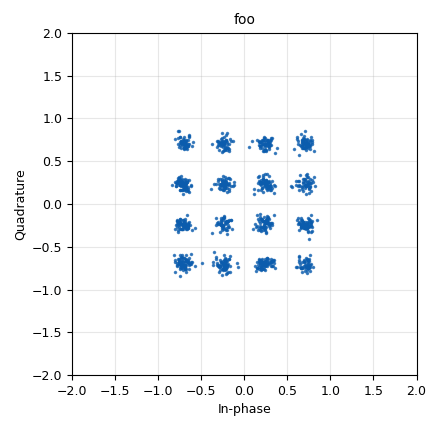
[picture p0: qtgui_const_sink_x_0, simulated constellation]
<?xml version='1.0' encoding='utf-8'?>
<?grc format='1' created='3.7.9'?>
<flow_graph>
<block>
<key>options</key>
<param><key>id</key><value>ber_simulation</value></param>
<param><key>author</key><value>Example</value></param>
<param><key>category</key><value>Custom</value></param>
<param><key>description</key><value>Adjust the noise and constellation... see what happens!</value></param>
<param><key>generate_options</key><value>qt_gui</value></param>
<param><key>title</key><value>BER Simulation</value></param>
</block>
<block>
<key>variable</key>
<param><key>id</key><value>Bps</value></param>
<param><key>value</key><value>int(math.log(M,2))</value></param>
</block>
<block>
<key>variable_qtgui_range</key>
<param><key>id</key><value>EbN0</value></param>
<param><key>value</key><value>14.</value></param>
<param><key>label</key><value>Eb / N0 (dB)</value></param>
<param><key>orient</key><value>Qt.Horizontal</value></param>
<param><key>start</key><value>-10</value></param>
<param><key>step</key><value>1</value></param>
<param><key>stop</key><value>200</value></param>
</block>
<block>
<key>variable</key>
<param><key>id</key><value>M</value></param>
<param><key>value</key><value>len(const)</value></param>
</block>
<block>
<key>variable_constellation</key>
<param><key>id</key><value>MiconstellationObject</value></param>
<param><key>const_points</key><value>const</value></param>
<param><key>dims</key><value>1</value></param>
<param><key>rot_sym</key><value>4</value></param>
<param><key>precision</key><value>8</value></param>
<param><key>sym_map</key><value></value></param>
</block>
<block>
<key>variable</key>
<param><key>id</key><value>Rb</value></param>
<param><key>value</key><value>Rs*Bps</value></param>
</block>
<block>
<key>variable</key>
<param><key>id</key><value>Rs</value></param>
<param><key>value</key><value>samp_rate/Sps</value></param>
</block>
<block>
<key>variable</key>
<param><key>id</key><value>Sps</value></param>
<param><key>value</key><value>16</value></param>
</block>
<block>
<key>variable</key>
<param><key>id</key><value>const</value></param>
<param><key>_enabled</key><value>0</value></param>
<param><key>value</key><value>(digital.constellation_bpsk(), digital.constellation_qpsk(), digital.constellation_8psk(), digital.qam.qam_constellation(16))</value></param>
</block>
<block>
<key>variable</key>
<param><key>id</key><value>const</value></param>
<param><key>value</key><value>[(1+1.j)/4.24,(3+1.j)/4.24,(3+3.j)/4.24,(1+3.j)/4.24,(-1+1.j)/4.24,(-3+1.j)/4.24,(-3+3.j)/4.24,(-1+3.j)/4.24,(-1-1.j)/4.24,(-3-1.j)/4.24,(-3-3.j)/4.24,(-1-3.j)/4.24,(1-1.j)/4.24,(3-1.j)/4.24,(3-3.j)/4.24,(1-3.j)/4.24]</value></param>
</block>
<block>
<key>variable</key>
<param><key>id</key><value>const_type</value></param>
<param><key>_enabled</key><value>0</value></param>
<param><key>value</key><value>2</value></param>
</block>
<block>
<key>variable</key>
<param><key>id</key><value>hn</value></param>
<param><key>value</key><value>wform.nyq(Sps,ntaps)</value></param>
</block>
<block>
<key>variable</key>
<param><key>id</key><value>hr</value></param>
<param><key>value</key><value>wform.rect(Sps,ntaps)</value></param>
</block>
<block>
<key>variable</key>
<param><key>id</key><value>hrc</value></param>
<param><key>value</key><value>wform.rcos(Sps,ntaps,rolloff)</value></param>
</block>
<block>
<key>variable</key>
<param><key>id</key><value>ntaps</value></param>
<param><key>value</key><value>128</value></param>
</block>
<block>
<key>variable</key>
<param><key>id</key><value>rolloff</value></param>
<param><key>value</key><value>0.35</value></param>
</block>
<block>
<key>variable</key>
<param><key>id</key><value>samp_rate</value></param>
<param><key>value</key><value>100e3</value></param>
</block>
<block>
<key>variable_qtgui_label</key>
<param><key>id</key><value>variable_qtgui_label_0</value></param>
<param><key>value</key><value>{0: 'BPSK', 1: 'QPSK', 2: '8-PSK', 3: '16-QAM'}[const_type] + " Cambie la constante "const_type" para elegir diferentes tipos de constelacion"</value></param>
<param><key>_enabled</key><value>0</value></param>
<param><key>label</key><value>Constellation Type</value></param>
<param><key>type</key><value>string</value></param>
</block>
<block>
<key>analog_noise_source_x</key>
<param><key>id</key><value>analog_noise_source_x</value></param>
<param><key>amp</key><value>1.0 / math.sqrt(2.0 * Bps * 10**(EbN0/10))</value></param>
<param><key>noise_type</key><value>analog.GR_GAUSSIAN</value></param>
<param><key>type</key><value>complex</value></param>
<param><key>seed</key><value>42</value></param>
</block>
<block>
<key>analog_random_source_x</key>
<param><key>id</key><value>analog_random_source_x</value></param>
<param><key>max</key><value>M</value></param>
<param><key>min</key><value>0</value></param>
<param><key>num_samps</key><value>10000000</value></param>
<param><key>type</key><value>byte</value></param>
<param><key>repeat</key><value>True</value></param>
</block>
<block>
<key>blks2_error_rate</key>
<param><key>id</key><value>blks2_error_rate</value></param>
<param><key>bits_per_symbol</key><value>Bps</value></param>
<param><key>type</key><value>'BER'</value></param>
<param><key>win_size</key><value>int(1e7)</value></param>
</block>
<block>
<key>blocks_add_xx</key>
<param><key>id</key><value>blocks_add_xx</value></param>
<param><key>type</key><value>complex</value></param>
</block>
<block>
<key>blocks_null_sink</key>
<param><key>id</key><value>blocks_null_sink_0</value></param>
<param><key>bus_conns</key><value>[[0,],]</value></param>
<param><key>type</key><value>complex</value></param>
</block>
<block>
<key>blocks_throttle</key>
<param><key>id</key><value>blocks_throttle</value></param>
<param><key>samples_per_second</key><value>samp_rate</value></param>
<param><key>type</key><value>byte</value></param>
</block>
<block>
<key>digital_chunks_to_symbols_xx</key>
<param><key>id</key><value>digital_chunks_to_symbols_xx</value></param>
<param><key>dimension</key><value>1</value></param>
<param><key>in_type</key><value>byte</value></param>
<param><key>out_type</key><value>complex</value></param>
<param><key>symbol_table</key><value>const</value></param>
</block>
<block>
<key>digital_constellation_decoder_cb</key>
<param><key>id</key><value>digital_constellation_decoder_cb_0</value></param>
<param><key>constellation</key><value>MiconstellationObject</value></param>
</block>
<block>
<key>import</key>
<param><key>id</key><value>import</value></param>
<param><key>import</key><value>import math</value></param>
</block>
<block>
<key>interp_fir_filter_xxx</key>
<param><key>id</key><value>interp_fir_filter_xxx_0_0_0</value></param>
<param><key>interp</key><value>Sps</value></param>
<param><key>taps</key><value>hr</value></param>
<param><key>type</key><value>ccc</value></param>
</block>
<block>
<key>qtgui_const_sink_x</key>
<param><key>id</key><value>qtgui_const_sink_x_0</value></param>
<param><key>gui_hint</key><value>2,0,1,1</value></param>
<param><key>alpha1</key><value>0.6</value></param>
<param><key>name</key><value>"foo"</value></param>
<param><key>size</key><value>1024</value></param>
<param><key>type</key><value>complex</value></param>
</block>
<block>
<key>qtgui_number_sink</key>
<param><key>id</key><value>qtgui_number_sink_0</value></param>
<param><key>autoscale</key><value>True</value></param>
<param><key>gui_hint</key><value>1,0,1,1</value></param>
<param><key>graph_type</key><value>qtgui.NUM_GRAPH_HORIZ</value></param>
<param><key>type</key><value>float</value></param>
<param><key>factor1</key><value>1e6</value></param>
<param><key>label1</key><value>BER</value></param>
<param><key>unit1</key><value>x10^-6</value></param>
<param><key>min</key><value>0</value></param>
</block>
<block>
<key>virtual_sink</key>
<param><key>id</key><value>vs0</value></param>
<param><key>stream_id</key><value>TX1</value></param>
</block>
<block>
<key>virtual_sink</key>
<param><key>id</key><value>vs1</value></param>
<param><key>stream_id</key><value>RX1</value></param>
</block>
<block>
<key>virtual_source</key>
<param><key>id</key><value>vs2</value></param>
<param><key>stream_id</key><value>TX1</value></param>
</block>
<block>
<key>virtual_source</key>
<param><key>id</key><value>vs3</value></param>
<param><key>stream_id</key><value>RX1</value></param>
</block>
<block>
<key>virtual_sink</key>
<param><key>id</key><value>vs4</value></param>
<param><key>stream_id</key><value>TX2</value></param>
</block>
<block>
<key>virtual_sink</key>
<param><key>id</key><value>vs5</value></param>
<param><key>stream_id</key><value>RX2</value></param>
</block>
<block>
<key>virtual_source</key>
<param><key>id</key><value>vs6</value></param>
<param><key>stream_id</key><value>RX2</value></param>
</block>
<block>
<key>epy_module</key>
<param><key>id</key><value>wform</value></param>
<param><key>source_code</key><value>import math
import numpy
#######################################################
##        Hecho por Homero Ortega Boada              ##
##        comdiguis@saber.uis.edu.co                 ##
##     Universidad Industrial de Santander           ##
#######################################################

#######################################################
##               Forma rectangular                   ##
#######################################################                       
def rect(Sps,ntaps):
    h=ntaps*[0,]
    for n in range(Sps):
        k=int(ntaps/2) # esto es para que h[n] quede centrada en la mitad del vector
        h[k-n]=1.
    return h

#######################################################
##               Forma de Nyquist                    ##
#######################################################                       
def nyq(Sps,ntaps):
    ntaps_min=-int(ntaps/2)
    ntaps_max=abs(ntaps_min)-1+int(math.ceil(ntaps/2.-abs(ntaps_min)))
    h=ntaps*[0,]
    for n in range(ntaps):
        k=n-ntaps/2. # esto es para que h[n] quede centrada en la mitad del vector
        h[n]=numpy.sinc(k/Sps)
    Amp=numpy.amax(h)
    return h/Amp

#######################################################
##               Forma Coseno Alzado                 ##
#######################################################                       
def rcos(Sps,ntaps,beta):
    if beta==0:
        h=nyq(Sps,ntaps)
    else:
        h=ntaps*[0,]
        for n in range(ntaps):
            k=n-ntaps/2. # esto es para que h[n] quede centrada en la mitad del vector
            if abs(k)==Sps/(2.*beta):
                h[n]=numpy.sinc(1./(2.*beta))*math.pi/4.
            else:
                h[n]=numpy.sinc(k/Sps)*math.cos(beta*k*math.pi/Sps)/(1.-(2.*beta*k/Sps)**2)                
    Amp=numpy.amax(h)
    return h/Amp

#######################################################
##            Forma Raiz de Coseno Alzado            ##
#######################################################                       

def rrcos(Sps,ntaps,beta):
    if beta==0:
        h=nyq(Sps,ntaps)
    else:
        h=ntaps*[0,]
        beta4=4.*beta
        for n in range(ntaps):
            k=n-ntaps/2. # esto es para que h[n] quede centrada en la mitad del vector
            if k==0:
                h[n]=1+beta*(4./math.pi-1.)
            elif abs(k)==Sps/beta4:
                ha=(1.+2./math.pi)*math.sin(math.pi/beta4)
                hb=(1.-2./math.pi)*math.cos(math.pi/beta4)
                h[n]=(ha+hb)*beta/math.sqrt(2.)
            else:
                ks=k/Sps
                kspi=math.pi*ks
                Num=math.sin(kspi*(1-beta))+beta4*ks*math.cos(kspi*(1+beta))
                Den=kspi*(1.-(beta4*ks)**2)
                h[n]=Num/Den                
    Amp=numpy.amax(h)
    return h/Amp
</value></param>
</block>
<connection><source_block_id>analog_noise_source_x</source_block_id><sink_block_id>blocks_add_xx</sink_block_id><source_key>0</source_key><sink_key>1</sink_key></connection>
<connection><source_block_id>analog_random_source_x</source_block_id><sink_block_id>blocks_throttle</sink_block_id><source_key>0</source_key><sink_key>0</sink_key></connection>
<connection><source_block_id>blks2_error_rate</source_block_id><sink_block_id>qtgui_number_sink_0</sink_block_id><source_key>0</source_key><sink_key>0</sink_key></connection>
<connection><source_block_id>blocks_add_xx</source_block_id><sink_block_id>digital_constellation_decoder_cb_0</sink_block_id><source_key>0</source_key><sink_key>0</sink_key></connection>
<connection><source_block_id>blocks_add_xx</source_block_id><sink_block_id>vs5</sink_block_id><source_key>0</source_key><sink_key>0</sink_key></connection>
<connection><source_block_id>blocks_throttle</source_block_id><sink_block_id>digital_chunks_to_symbols_xx</sink_block_id><source_key>0</source_key><sink_key>0</sink_key></connection>
<connection><source_block_id>blocks_throttle</source_block_id><sink_block_id>vs0</sink_block_id><source_key>0</source_key><sink_key>0</sink_key></connection>
<connection><source_block_id>digital_chunks_to_symbols_xx</source_block_id><sink_block_id>blocks_add_xx</sink_block_id><source_key>0</source_key><sink_key>0</sink_key></connection>
<connection><source_block_id>digital_chunks_to_symbols_xx</source_block_id><sink_block_id>interp_fir_filter_xxx_0_0_0</sink_block_id><source_key>0</source_key><sink_key>0</sink_key></connection>
<connection><source_block_id>digital_chunks_to_symbols_xx</source_block_id><sink_block_id>vs4</sink_block_id><source_key>0</source_key><sink_key>0</sink_key></connection>
<connection><source_block_id>digital_constellation_decoder_cb_0</source_block_id><sink_block_id>vs1</sink_block_id><source_key>0</source_key><sink_key>0</sink_key></connection>
<connection><source_block_id>interp_fir_filter_xxx_0_0_0</source_block_id><sink_block_id>blocks_null_sink_0</sink_block_id><source_key>0</source_key><sink_key>0</sink_key></connection>
<connection><source_block_id>vs2</source_block_id><sink_block_id>blks2_error_rate</sink_block_id><source_key>0</source_key><sink_key>0</sink_key></connection>
<connection><source_block_id>vs3</source_block_id><sink_block_id>blks2_error_rate</sink_block_id><source_key>0</source_key><sink_key>1</sink_key></connection>
<connection><source_block_id>vs6</source_block_id><sink_block_id>qtgui_const_sink_x_0</sink_block_id><source_key>0</source_key><sink_key>0</sink_key></connection>
</flow_graph>
